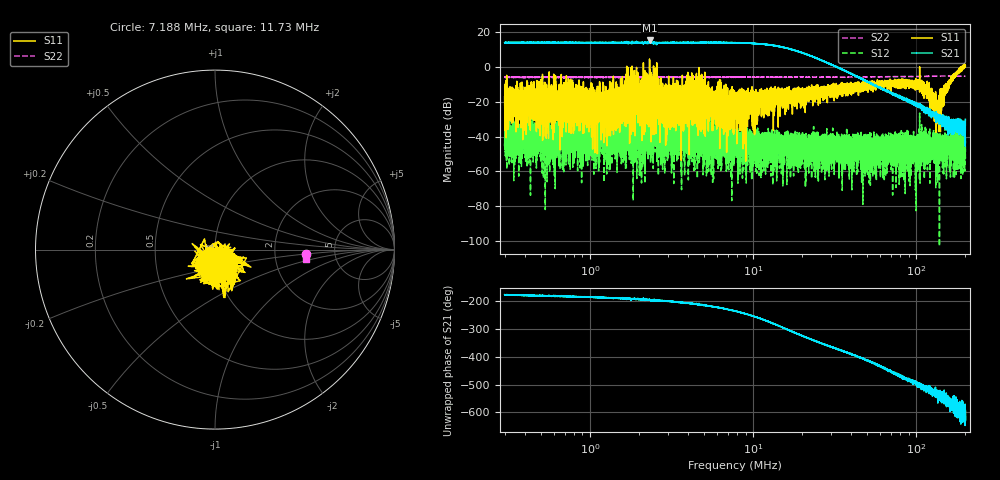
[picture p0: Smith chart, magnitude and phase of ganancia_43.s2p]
# Hz S DB R 50
! CMT, M5065, 19127446, 24.2.4/2
! Date: 11/1/2024 4:40:48 PM
! Data: Format (Calibration Info)
! Freq	S11:dB/Ang(F2)	S21:dB/Ang(F2)	S12:dB/Ang(F2)	S22:dB/Ang(F2)
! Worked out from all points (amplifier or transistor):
!   9000 points, 300 kHz to 200 MHz, reference 50 ohm
!   highest |S21| = 15.2 dB at 2.318 MHz (marker M1)
!   |S21| within 3 dB of that: start of sweep to 13.39 MHz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
!   unconditionally stable (mu >= 1): 2.568 MHz to 4.661 MHz; 4.664 MHz to 104.8 MHz; 105 MHz to 187.8 MHz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
!   at 886.8 kHz: K = 13.34, MAG = 15.3 dB, |S12| = -45.2 dB
!   at 7.749 MHz: K = 28.35, MAG = 15.3 dB, |S12| = -51.7 dB
!   at 200 MHz: K = -255.35, MSG = 5.2 dB, |S12| = -40.5 dB
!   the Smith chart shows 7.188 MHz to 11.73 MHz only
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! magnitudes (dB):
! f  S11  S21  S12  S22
! 300 kHz  -17.2  14.0  -43.3  -5.9
! 314.7 kHz  -20.4  14.0  -40.9  -5.9
! 446.7 kHz  -14.6  13.9  -39.4  -5.8
! 886.8 kHz  -15.9  13.9  -45.2  -5.9
! 992.6 kHz  -34.9  14.0  -45.9  -5.9
! 1.052 MHz  -25.6  14.0  -51.9  -5.9
! 1.184 MHz  -28.6  14.0  -34.2  -5.9
! 1.297 MHz  -16.6  14.0  -39.7  -6.0
! 1.688 MHz  -14.2  14.1  -40.4  -5.8
! 2.318 MHz  4.6  15.2  -48.4  -5.9
! 2.621 MHz  -21.2  14.0  -41.1  -5.8
! 4.734 MHz  -11.0  13.8  -40.2  -5.8
! 5.092 MHz  -39.8  14.0  -50.0  -5.9
! 7.749 MHz  -19.9  14.0  -51.7  -5.9
! 13.98 MHz  -14.5  12.1  -43.4  -5.9
! 22.91 MHz  -13.2  6.2  -45.4  -5.8
! 67.71 MHz  -7.9  -14.5  -44.3  -5.6
! 105 MHz  -9.5  -22.7  -46.1  -5.5
! 116.1 MHz  -17.2  -25.0  -53.1  -5.4
! 136 MHz  -23.3  -28.7  -60.3  -5.2
! 152.1 MHz  -13.0  -33.0  -51.9  -5.2
! 200 MHz  0.8  -30.1  -40.5  -5.3
